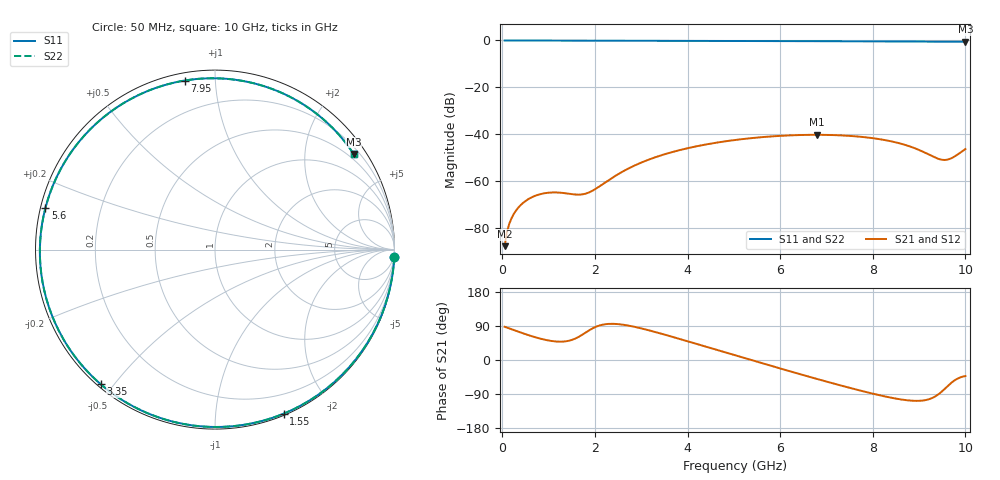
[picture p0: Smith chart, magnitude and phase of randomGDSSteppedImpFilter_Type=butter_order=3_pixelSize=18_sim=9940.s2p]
! freq	dB(S11)	phase(S11)	dB(S12)	phase(S12)
!  dB(S21)	phase(S21)	dB(S22)	phase(S22)
!S-par simulation data
#  GHz  S  DB  R 50
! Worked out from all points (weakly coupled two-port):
!   200 points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, 50 MHz to 10 GHz, reference 50 ohm
!   highest |S21| = -40.18 dB at 6.8 GHz (marker M1); lowest = -87.6 dB at 50 MHz (marker M2)
!   lowest |S11| = -0.6 dB at 10 GHz (marker M3), VSWR 31.35, Z = 17.8 + j158 ohm
!   |S11| at or under -10 dB: nowhere
!   |S22| runs from -0.6 to 0.0 dB; largest |S21 - S12| = 0
!   S11 on the Smith chart (normalised r, x): 50 MHz: 0, -50; 1.55 GHz: 0.02, -1.50; 3.35 GHz: 0.01, -0.46; 5.6 GHz: 0.01, +0.12; 7.95 GHz: 0.04, +0.84; 10 GHz: 0.36, +3.17
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0.05  -0.00 -2.3  -87.60 87.7  -87.60 87.7  -0.00 -2.3
0.1  -0.01 -4.6  -81.60 85.5  -81.60 85.5  -0.01 -4.6
0.25  -0.02 -11.4  -73.81 78.9  -73.81 78.9  -0.02 -11.4
0.35  -0.02 -15.9  -71.08 74.6  -71.08 74.6  -0.02 -15.9
0.65  -0.04 -29.3  -66.66 62.3  -66.66 62.3  -0.04 -29.3
1.05  -0.06 -46.6  -64.75 50.4  -64.75 50.4  -0.06 -46.6
1.55  -0.08 -67.2  -65.55 55.2  -65.55 55.2  -0.08 -67.2
1.75  -0.09 -75.1  -65.46 68.5  -65.46 68.5  -0.09 -75.1
2.5  -0.11 -102.5  -56.95 94.7  -56.95 94.7  -0.11 -102.5
3.35  -0.14 -130.3  -49.44 72.3  -49.44 72.3  -0.14 -130.3
3.4  -0.14 -131.8  -49.11 70.6  -49.11 70.6  -0.14 -131.8
4.2  -0.17 -155.4  -45.04 42.2  -45.04 42.2  -0.17 -155.4
5.05  -0.21 -178.9  -42.33 11.5  -42.33 11.5  -0.21 -178.9
5.6  -0.24 166.2  -41.19 -8.2  -41.19 -8.2  -0.24 166.2
6.7  -0.30 136.1  -40.19 -46.7  -40.19 -46.7  -0.30 136.1
6.8  -0.31 133.4  -40.18 -50.2  -40.18 -50.2  -0.31 133.3
7.95  -0.38 100.1  -41.48 -87.4  -41.48 -87.4  -0.38 100.0
8.35  -0.41 87.9  -42.76 -98.4  -42.76 -98.4  -0.41 87.8
8.9  -0.45 70.6  -45.84 -107.7  -45.84 -107.7  -0.45 70.5
9.5  -0.50 51.1  -50.83 -82.2  -50.83 -82.2  -0.50 51.1
9.7  -0.52 44.6  -50.13 -59.8  -50.13 -59.8  -0.52 44.5
10  -0.55 34.7  -46.26 -42.4  -46.26 -42.4  -0.55 34.6
